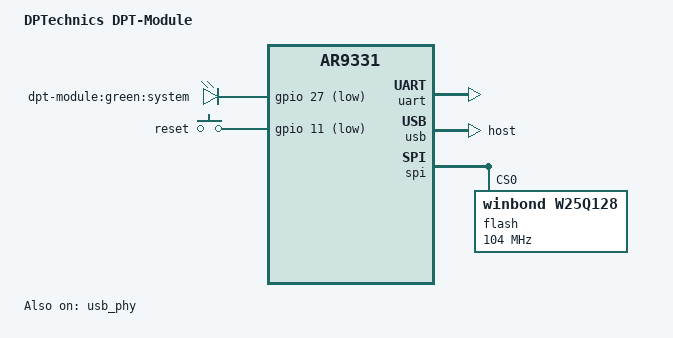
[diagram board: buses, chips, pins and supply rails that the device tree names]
// SPDX-License-Identifier: GPL-2.0
/dts-v1/;

#include <dt-bindings/gpio/gpio.h>
#include <dt-bindings/input/input.h>

#include "ar9331.dtsi"

/ {
	model = "DPTechnics DPT-Module";
	compatible = "dptechnics,dpt-module", "qca,ar9331";

	aliases {
		serial0 = &uart;
	};

	leds {
		compatible = "gpio-leds";

		system {
			label = "dpt-module:green:system";
			gpios = <&gpio 27 GPIO_ACTIVE_LOW>;
		};
	};

	keys {
		compatible = "gpio-keys-polled";
		poll-interval = <100>;

		button0 {
			label = "reset";
			linux,code = <KEY_RESTART>;
			gpios = <&gpio 11 GPIO_ACTIVE_LOW>;
		};
	};
};

&ref {
	clock-frequency = <25000000>;
};

&uart {
	status = "okay";
};

&gpio {
	status = "okay";
};

&usb {
	dr_mode = "host";
	status = "okay";
};

&usb_phy {
	status = "okay";
};

&spi {
	num-chipselects = <1>;
	status = "okay";

	/* Winbond 25Q128FVSG SPI flash */
	flash@0 {
		compatible = "winbond,w25q128", "jedec,spi-nor";
		spi-max-frequency = <104000000>;
		reg = <0>;
	};
};
